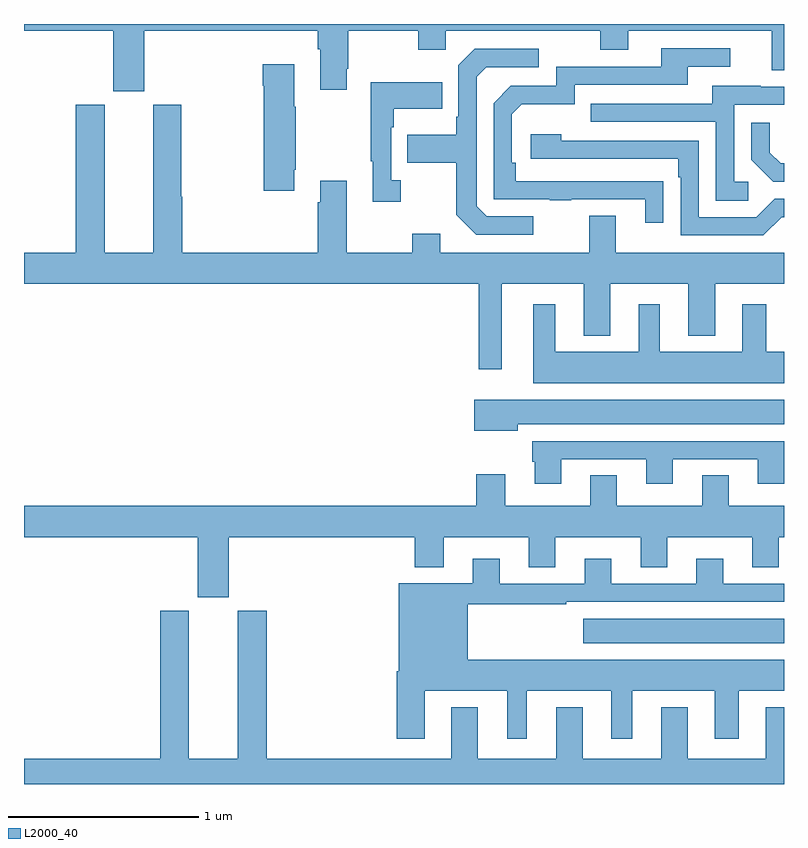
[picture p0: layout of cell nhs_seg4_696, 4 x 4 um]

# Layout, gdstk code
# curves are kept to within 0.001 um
import gdstk
lib = gdstk.Library(unit=1e-6, precision=1e-09)
def R(c, l, rs):  # rectangles x0, y0, x1, y1
    for r in rs: c.add(gdstk.rectangle(r[:2], r[2:], *l))
def P(c, l, *ps):  # polygons
    for p in ps: c.add(gdstk.Polygon(p, *l))
L2000_40 = (2000, 40)

nhs_seg4_696 = lib.new_cell('nhs_seg4_696')
R(nhs_seg4_696, L2000_40, [(149.943,749.642,151,749.77)])
P(nhs_seg4_696, L2000_40, [(148.547,752.768),(148.559,752.768),(148.559,752.553),(148.699,752.553),(148.699,752.665),(148.707,752.665),(148.707,752.864),(149.074,752.864),(149.074,752.765),(149.22,752.765),(149.22,752.864),(150.034,752.864),(150.034,752.765),(150.181,752.765),(150.181,752.864),(150.935,752.864),(150.935,752.656),(151,752.656),(151,752.9),(147,752.9),(147,752.864),(147.47,752.864),(147.47,752.547),(147.634,752.547),(147.634,752.864),(148.547,752.864)],
  [(150.365,752.072),(149.588,752.073),(149.588,752.17),(149.568,752.17),(149.568,752.424),(149.621,752.477),(149.898,752.477),(149.898,752.58),(150.493,752.58),(150.493,752.676),(150.718,752.676),(150.718,752.772),(150.353,752.772),(150.353,752.676),(149.802,752.676),(149.802,752.574),(149.562,752.574),(149.472,752.484),(149.472,751.977),(149.767,751.977),(149.767,751.972),(149.879,751.972),(149.879,751.977),(150.269,751.977),(150.269,751.854),(150.365,751.854)],
  [(149.68,751.887),(149.436,751.887),(149.382,751.941),(149.382,752.622),(149.433,752.673),(149.71,752.673),(149.71,752.769),(149.373,752.769),(149.286,752.682),(149.286,752.413),(149.274,752.413),(149.274,752.317),(149.017,752.317),(149.017,752.17),(149.274,752.17),(149.274,751.897),(149.379,751.791),(149.68,751.791)],
  [(148.423,752.134),(148.431,752.134),(148.431,752.465),(148.423,752.465),(148.423,752.689),(148.256,752.689),(148.256,752.576),(148.261,752.576),(148.261,752.022),(148.423,752.022)],
  [(148.984,752.078),(148.932,752.078),(148.932,752.357),(148.945,752.357),(148.945,752.453),(149.201,752.453),(149.201,752.593),(148.824,752.593),(148.824,752.177),(148.835,752.177),(148.835,751.965),(148.984,751.965)],
  [(150.811,752.07),(150.738,752.07),(150.738,752.475),(151,752.475),(151,752.571),(150.877,752.571),(150.877,752.575),(150.623,752.575),(150.623,752.481),(149.983,752.481),(149.983,752.385),(150.642,752.385),(150.642,751.969),(150.811,751.969)],
  [(149.515,751.532),(149.945,751.532),(149.945,751.259),(150.085,751.259),(150.085,751.532),(150.497,751.532),(150.497,751.259),(150.637,751.259),(150.637,751.532),(151,751.532),(151,751.696),(150.115,751.696),(150.115,751.891),(149.975,751.891),(149.975,751.696),(149.191,751.696),(149.191,751.795),(149.044,751.795),(149.044,751.696),(148.699,751.696),(148.699,752.074),(148.559,752.074),(148.559,751.961),(148.547,751.961),(148.547,751.696),(147.833,751.696),(147.833,751.992),(147.828,751.992),(147.828,752.475),(147.68,752.475),(147.68,751.696),(147.424,751.696),(147.424,752.475),(147.272,752.475),(147.272,751.696),(147,751.696),(147,751.532),(149.394,751.532),(149.394,751.083),(149.515,751.083)],
  [(151,752.166),(150.982,752.166),(150.925,752.223),(150.925,752.38),(150.828,752.38),(150.828,752.186),(150.944,752.07),(151,752.07)],
  [(150.987,751.884),(151,751.884),(151,751.98),(150.951,751.98),(150.855,751.884),(150.552,751.884),(150.552,752.286),(149.828,752.286),(149.828,752.32),(149.667,752.32),(149.667,752.19),(150.443,752.19),(150.443,752.093),(150.456,752.093),(150.456,751.788),(150.891,751.788)],
  [(151,751.174),(150.907,751.174),(150.907,751.426),(150.779,751.426),(150.779,751.174),(150.346,751.174),(150.346,751.426),(150.236,751.426),(150.236,751.174),(149.797,751.174),(149.797,751.426),(149.681,751.426),(149.681,751.01),(151,751.01)],
  [(149.599,750.794),(151,750.794),(151,750.922),(149.37,750.922),(149.37,750.758),(149.599,750.758)],
  [(149.827,750.609),(150.275,750.609),(150.275,750.48),(150.415,750.48),(150.415,750.609),(150.863,750.609),(150.863,750.48),(151,750.48),(151,750.705),(149.675,750.705),(149.675,750.597),(149.687,750.597),(149.687,750.48),(149.827,750.48)],
  [(148.078,750.2),(149.057,750.2),(149.057,750.041),(149.209,750.041),(149.209,750.2),(149.657,750.2),(149.657,750.04),(149.797,750.04),(149.797,750.2),(150.245,750.2),(150.245,750.04),(150.385,750.04),(150.385,750.2),(150.833,750.2),(150.833,750.04),(150.973,750.04),(150.973,750.2),(151,750.2),(151,750.364),(150.709,750.364),(150.709,750.524),(150.569,750.524),(150.569,750.364),(150.121,750.364),(150.121,750.524),(149.981,750.524),(149.981,750.364),(149.533,750.364),(149.533,750.529),(149.381,750.529),(149.381,750.364),(147,750.364),(147,750.2),(147.914,750.2),(147.914,749.883),(148.078,749.883)],
  [(149.11,749.39),(149.543,749.39),(149.543,749.139),(149.647,749.139),(149.647,749.39),(150.092,749.39),(150.092,749.139),(150.202,749.139),(150.202,749.39),(150.635,749.39),(150.635,749.139),(150.763,749.139),(150.763,749.39),(151,749.39),(151,749.554),(149.335,749.554),(149.335,749.847),(149.855,749.847),(149.855,749.859),(151,749.859),(151,749.955),(150.679,749.955),(150.679,750.085),(150.539,750.085),(150.539,749.955),(150.091,749.955),(150.091,750.085),(149.951,750.085),(149.951,749.955),(149.503,749.955),(149.503,750.085),(149.363,750.085),(149.363,749.956),(148.973,749.956),(148.973,749.494),(148.961,749.494),(148.961,749.139),(149.11,749.139)],
  [(151,749.305),(150.905,749.305),(150.905,749.032),(150.493,749.032),(150.493,749.305),(150.353,749.305),(150.353,749.032),(149.941,749.032),(149.941,749.305),(149.801,749.305),(149.801,749.032),(149.389,749.032),(149.389,749.305),(149.249,749.305),(149.249,749.032),(148.277,749.032),(148.277,749.811),(148.124,749.811),(148.124,749.032),(147.868,749.032),(147.868,749.811),(147.716,749.811),(147.716,749.032),(147,749.032),(147,748.9),(151,748.9)])

lib.write_gds('nhs_seg4_696.gds')
